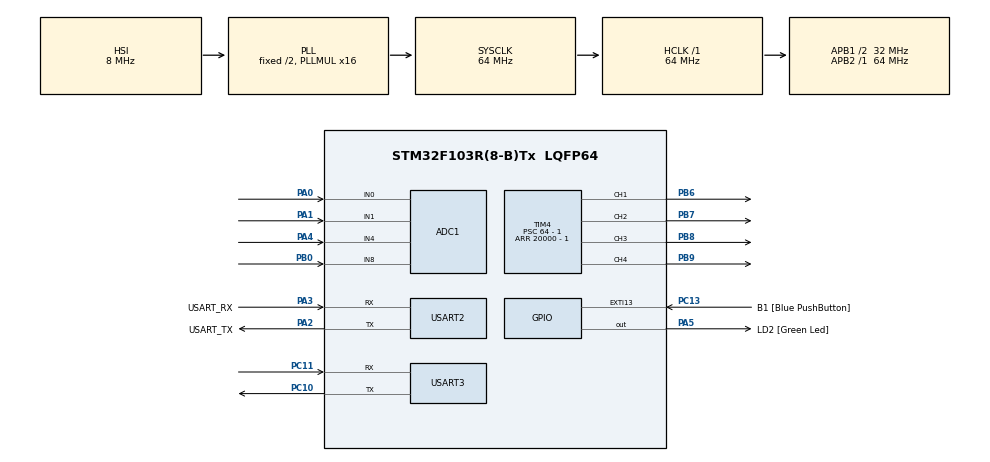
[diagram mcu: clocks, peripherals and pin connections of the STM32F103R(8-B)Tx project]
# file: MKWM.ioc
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ADC1.Channel-0\#ChannelRegularConversion=ADC_CHANNEL_0
ADC1.Channel-1\#ChannelRegularConversion=ADC_CHANNEL_1
ADC1.Channel-2\#ChannelRegularConversion=ADC_CHANNEL_4
ADC1.Channel-3\#ChannelRegularConversion=ADC_CHANNEL_8
ADC1.ContinuousConvMode=ENABLE
ADC1.DataAlign=ADC_DATAALIGN_RIGHT
ADC1.DiscontinuousConvMode=DISABLE
ADC1.EnableAnalogWatchDog=false
ADC1.EnableRegularConversion=ENABLE
ADC1.ExternalTrigConv=ADC_SOFTWARE_START
ADC1.InjNumberOfConversion=0
ADC1.NbrOfConversion=4
ADC1.NbrOfConversionFlag=1
ADC1.Rank-0\#ChannelRegularConversion=1
ADC1.Rank-1\#ChannelRegularConversion=2
ADC1.Rank-2\#ChannelRegularConversion=3
ADC1.Rank-3\#ChannelRegularConversion=4
ADC1.SamplingTime-0\#ChannelRegularConversion=ADC_SAMPLETIME_1CYCLE_5
ADC1.SamplingTime-1\#ChannelRegularConversion=ADC_SAMPLETIME_1CYCLE_5
ADC1.SamplingTime-2\#ChannelRegularConversion=ADC_SAMPLETIME_1CYCLE_5
ADC1.SamplingTime-3\#ChannelRegularConversion=ADC_SAMPLETIME_1CYCLE_5
ADC1.ScanConvMode=ADC_SCAN_ENABLE
ADC1.master=1
Dma.ADC1.4.Direction=DMA_PERIPH_TO_MEMORY
Dma.ADC1.4.Instance=DMA1_Channel1
Dma.ADC1.4.MemDataAlignment=DMA_MDATAALIGN_HALFWORD
Dma.ADC1.4.MemInc=DMA_MINC_ENABLE
Dma.ADC1.4.Mode=DMA_CIRCULAR
Dma.ADC1.4.PeriphDataAlignment=DMA_PDATAALIGN_HALFWORD
Dma.ADC1.4.PeriphInc=DMA_PINC_DISABLE
Dma.ADC1.4.Priority=DMA_PRIORITY_LOW
Dma.Request0=USART2_RX
Dma.Request1=USART2_TX
Dma.Request2=USART3_RX
Dma.Request3=USART3_TX
Dma.Request4=ADC1
Dma.USART2_RX.0.Direction=DMA_PERIPH_TO_MEMORY
Dma.USART2_RX.0.Instance=DMA1_Channel6
Dma.USART2_RX.0.MemDataAlignment=DMA_MDATAALIGN_BYTE
Dma.USART2_RX.0.MemInc=DMA_MINC_ENABLE
Dma.USART2_RX.0.Mode=DMA_NORMAL
Dma.USART2_RX.0.PeriphDataAlignment=DMA_PDATAALIGN_BYTE
Dma.USART2_RX.0.PeriphInc=DMA_PINC_DISABLE
Dma.USART2_RX.0.Priority=DMA_PRIORITY_LOW
Dma.USART2_TX.1.Direction=DMA_MEMORY_TO_PERIPH
Dma.USART2_TX.1.Instance=DMA1_Channel7
Dma.USART2_TX.1.MemDataAlignment=DMA_MDATAALIGN_BYTE
Dma.USART2_TX.1.MemInc=DMA_MINC_ENABLE
Dma.USART2_TX.1.Mode=DMA_NORMAL
Dma.USART2_TX.1.PeriphDataAlignment=DMA_PDATAALIGN_BYTE
Dma.USART2_TX.1.PeriphInc=DMA_PINC_DISABLE
Dma.USART2_TX.1.Priority=DMA_PRIORITY_LOW
Dma.USART3_RX.2.Direction=DMA_PERIPH_TO_MEMORY
Dma.USART3_RX.2.Instance=DMA1_Channel3
Dma.USART3_RX.2.MemDataAlignment=DMA_MDATAALIGN_BYTE
Dma.USART3_RX.2.MemInc=DMA_MINC_ENABLE
Dma.USART3_RX.2.Mode=DMA_NORMAL
Dma.USART3_RX.2.PeriphDataAlignment=DMA_PDATAALIGN_BYTE
Dma.USART3_RX.2.PeriphInc=DMA_PINC_DISABLE
Dma.USART3_RX.2.Priority=DMA_PRIORITY_LOW
Dma.USART3_TX.3.Direction=DMA_MEMORY_TO_PERIPH
Dma.USART3_TX.3.Instance=DMA1_Channel2
Dma.USART3_TX.3.MemDataAlignment=DMA_MDATAALIGN_BYTE
Dma.USART3_TX.3.MemInc=DMA_MINC_ENABLE
Dma.USART3_TX.3.Mode=DMA_NORMAL
Dma.USART3_TX.3.PeriphDataAlignment=DMA_PDATAALIGN_BYTE
Dma.USART3_TX.3.PeriphInc=DMA_PINC_DISABLE
Dma.USART3_TX.3.Priority=DMA_PRIORITY_LOW
Mcu.Family=STM32F1
Mcu.Name=STM32F103R(8-B)Tx
Mcu.Package=LQFP64
NVIC.ADC1_2_IRQn=true\:0\:0\:false\:false\:true\:true
NVIC.DMA1_Channel1_IRQn=true\:0\:0\:false\:false\:true\:false
NVIC.DMA1_Channel2_IRQn=true\:0\:0\:false\:false\:true\:false
NVIC.DMA1_Channel3_IRQn=true\:0\:0\:false\:false\:true\:false
NVIC.DMA1_Channel6_IRQn=true\:0\:0\:false\:false\:true\:false
NVIC.DMA1_Channel7_IRQn=true\:0\:0\:false\:false\:true\:false
NVIC.EXTI15_10_IRQn=true\:0\:0\:false\:false\:true\:true
NVIC.PriorityGroup=NVIC_PRIORITYGROUP_4
NVIC.TIM2_IRQn=true\:0\:0\:false\:false\:true\:true
NVIC.USART2_IRQn=true\:0\:0\:false\:false\:true\:true
NVIC.USART3_IRQn=true\:0\:0\:false\:false\:true\:true
PA0-WKUP.Signal=ADCx_IN0
PA1.Signal=ADCx_IN1
PA13.GPIO_Label=TMS
PA13.Mode=Serial_Wire
PA13.Signal=SYS_JTMS-SWDIO
PA14.GPIO_Label=TCK
PA14.Mode=Serial_Wire
PA14.Signal=SYS_JTCK-SWCLK
PA2.GPIO_Label=USART_TX
PA2.GPIO_Mode=GPIO_MODE_AF_PP
PA2.GPIO_PuPd=GPIO_NOPULL
PA2.GPIO_Speed=GPIO_SPEED_FREQ_LOW
PA2.Mode=Asynchronous
PA2.Signal=USART2_TX
PA3.GPIO_Label=USART_RX
PA3.GPIO_Mode=GPIO_MODE_AF_PP
PA3.GPIO_PuPd=GPIO_NOPULL
PA3.GPIO_Speed=GPIO_SPEED_FREQ_LOW
PA3.Mode=Asynchronous
PA3.Signal=USART2_RX
PA4.Signal=ADCx_IN4
PA5.GPIO_Label=LD2 [Green Led]
PA5.GPIO_ModeDefaultOutputPP=GPIO_MODE_OUTPUT_PP
PA5.GPIO_PuPd=GPIO_NOPULL
PA5.GPIO_Speed=GPIO_SPEED_FREQ_LOW
PA5.Signal=GPIO_Output
PB0.Signal=ADCx_IN8
PB3.GPIO_Label=SWO
PB3.Signal=SYS_JTDO-TRACESWO
PB6.GPIO_Speed=GPIO_SPEED_FREQ_HIGH
PB6.Signal=S_TIM4_CH1
PB7.GPIO_Speed=GPIO_SPEED_FREQ_HIGH
PB7.Signal=S_TIM4_CH2
PB8.GPIO_Speed=GPIO_SPEED_FREQ_HIGH
PB8.Signal=S_TIM4_CH3
PB9.GPIO_Speed=GPIO_SPEED_FREQ_HIGH
PB9.Signal=S_TIM4_CH4
PC10.Mode=Asynchronous
PC10.Signal=USART3_TX
PC11.Mode=Asynchronous
PC11.Signal=USART3_RX
PC13-TAMPER-RTC.GPIO_Label=B1 [Blue PushButton]
PC13-TAMPER-RTC.GPIO_ModeDefaultEXTI=GPIO_MODE_IT_RISING_FALLING
PC13-TAMPER-RTC.GPIO_PuPd=GPIO_PULLDOWN
PC13-TAMPER-RTC.Signal=GPXTI13
PC14-OSC32_IN.Mode=LSE-External-Oscillator
PC14-OSC32_IN.Signal=RCC_OSC32_IN
PC15-OSC32_OUT.Mode=LSE-External-Oscillator
PC15-OSC32_OUT.Signal=RCC_OSC32_OUT
PD0-OSC_IN.Mode=HSE-External-Clock-Source
PD0-OSC_IN.Signal=RCC_OSC_IN
PD1-OSC_OUT.Mode=HSE-External-Clock-Source
PD1-OSC_OUT.Signal=RCC_OSC_OUT
ProjectManager.HeapSize=0x200
ProjectManager.StackSize=0x400
ProjectManager.TargetToolchain=TrueSTUDIO
RCC.ADCPresc=RCC_ADCPCLK2_DIV6
RCC.AHBFreq_Value=64000000
RCC.APB1CLKDivider=RCC_HCLK_DIV2
RCC.APB1Freq_Value=32000000
RCC.APB1TimFreq_Value=64000000
RCC.APB2Freq_Value=64000000
RCC.APB2TimFreq_Value=64000000
RCC.HCLKFreq_Value=64000000
RCC.PLLMUL=RCC_PLL_MUL16
RCC.RTCClockSelection=RCC_RTCCLKSOURCE_LSE
RCC.SYSCLKFreq_VALUE=64000000
RCC.SYSCLKSource=RCC_SYSCLKSOURCE_PLLCLK
RCC.USBFreq_Value=64000000
SH.ADCx_IN0.0=ADC1_IN0,IN0
SH.ADCx_IN1.0=ADC1_IN1,IN1
SH.ADCx_IN4.0=ADC1_IN4,IN4
SH.ADCx_IN8.0=ADC1_IN8,IN8
SH.S_TIM4_CH1.0=TIM4_CH1,PWM Generation1 CH1
SH.S_TIM4_CH2.0=TIM4_CH2,PWM Generation2 CH2
SH.S_TIM4_CH3.0=TIM4_CH3,PWM Generation3 CH3
SH.S_TIM4_CH4.0=TIM4_CH4,PWM Generation4 CH4
TIM2.AutoReloadPreload=TIM_AUTORELOAD_PRELOAD_ENABLE
TIM2.Period=1000
TIM2.Prescaler=64000 - 1
TIM4.AutoReloadPreload=TIM_AUTORELOAD_PRELOAD_ENABLE
TIM4.Channel-PWM\ Generation1\ CH1=TIM_CHANNEL_1
TIM4.Channel-PWM\ Generation2\ CH2=TIM_CHANNEL_2
TIM4.Channel-PWM\ Generation3\ CH3=TIM_CHANNEL_3
TIM4.Channel-PWM\ Generation4\ CH4=TIM_CHANNEL_4
TIM4.OCFastMode_PWM-PWM\ Generation2\ CH2=TIM_OCFAST_ENABLE
TIM4.OCFastMode_PWM-PWM\ Generation3\ CH3=TIM_OCFAST_ENABLE
TIM4.OCFastMode_PWM-PWM\ Generation4\ CH4=TIM_OCFAST_ENABLE
TIM4.OCPolarity_3=TIM_OCPOLARITY_HIGH
TIM4.Period=20000 - 1
TIM4.Prescaler=64 - 1
TIM4.Pulse-PWM\ Generation1\ CH1=1500
TIM4.Pulse-PWM\ Generation2\ CH2=1500
TIM4.Pulse-PWM\ Generation3\ CH3=1500
TIM4.Pulse-PWM\ Generation4\ CH4=1500
USART2.VirtualMode=VM_ASYNC
USART3.VirtualMode=VM_ASYNC
VP_TIM2_VS_ClockSourceINT.Mode=Internal
VP_TIM2_VS_OPM.Mode=OPM_bit
VP_TIM4_VS_ClockSourceINT.Mode=Internal
board=NUCLEO-F103RB

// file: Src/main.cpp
/**
  ******************************************************************************
  * @file           : main.c
  * @brief          : Main program body
  ******************************************************************************
  ** This notice applies to any and all portions of this file
  * that are not between comment pairs USER CODE BEGIN and
  * USER CODE END. Other portions of this file, whether
  * inserted by the user or by software development tools
  * are owned by their respective copyright owners.
  *
  * COPYRIGHT(c) 2019 STMicroelectronics
  *
  * Redistribution and use in source and binary forms, with or without modification,
  * are permitted provided that the following conditions are met:
  *   1. Redistributions of source code must retain the above copyright notice,
  *      this list of conditions and the following disclaimer.
  *   2. Redistributions in binary form must reproduce the above copyright notice,
  *      this list of conditions and the following disclaimer in the documentation
  *      and/or other materials provided with the distribution.
  *   3. Neither the name of STMicroelectronics nor the names of its contributors
  *      may be used to endorse or promote products derived from this software
  *      without specific prior written permission.
  *
  * THIS SOFTWARE IS PROVIDED BY THE COPYRIGHT HOLDERS AND CONTRIBUTORS "AS IS"
  * AND ANY EXPRESS OR IMPLIED WARRANTIES, INCLUDING, BUT NOT LIMITED TO, THE
  * IMPLIED WARRANTIES OF MERCHANTABILITY AND FITNESS FOR A PARTICULAR PURPOSE ARE
  * DISCLAIMED. IN NO EVENT SHALL THE COPYRIGHT HOLDER OR CONTRIBUTORS BE LIABLE
  * FOR ANY DIRECT, INDIRECT, INCIDENTAL, SPECIAL, EXEMPLARY, OR CONSEQUENTIAL
  * DAMAGES (INCLUDING, BUT NOT LIMITED TO, PROCUREMENT OF SUBSTITUTE GOODS OR
  * SERVICES; LOSS OF USE, DATA, OR PROFITS; OR BUSINESS INTERRUPTION) HOWEVER
  * CAUSED AND ON ANY THEORY OF LIABILITY, WHETHER IN CONTRACT, STRICT LIABILITY,
  * OR TORT (INCLUDING NEGLIGENCE OR OTHERWISE) ARISING IN ANY WAY OUT OF THE USE
  * OF THIS SOFTWARE, EVEN IF ADVISED OF THE POSSIBILITY OF SUCH DAMAGE.
  *
  ******************************************************************************
  */
#include "main.h"
#include "stm32f1xx_hal.h"

/* USER CODE BEGIN Includes */

#include "Robot.h"
#include "Servo.h"
#include "string.h"
#include "UARTPCCOM.h"

/* USER CODE END Includes */

ADC_HandleTypeDef hadc1;
DMA_HandleTypeDef hdma_adc1;

TIM_HandleTypeDef htim2;
TIM_HandleTypeDef htim4;

UART_HandleTypeDef huart2;
UART_HandleTypeDef huart3;
DMA_HandleTypeDef hdma_usart2_rx;
DMA_HandleTypeDef hdma_usart2_tx;
DMA_HandleTypeDef hdma_usart3_rx;
DMA_HandleTypeDef hdma_usart3_tx;

/* USER CODE BEGIN PV */
/* Private variables ---------------------------------------------------------*/

Robot *robot = NULL;

UART_PC_COM *pc = NULL;

/* USER CODE END PV */

void SystemClock_Config(void);
static void MX_GPIO_Init(void);
static void MX_DMA_Init(void);
static void MX_USART2_UART_Init(void);
static void MX_TIM4_Init(void);
static void MX_USART3_UART_Init(void);
static void MX_TIM2_Init(void);
static void MX_ADC1_Init(void);

//void HAL_TIM_MspPostInit(TIM_HandleTypeDef *htim);

/* USER CODE BEGIN PFP */
/* Private function prototypes -----------------------------------------------*/
extern "C" void HAL_TIM_MspPostInit(TIM_HandleTypeDef *htim);

void HAL_UART_RxCpltCallback(UART_HandleTypeDef *huart) {
	if(pc != NULL) pc->recieveNextData();
}

void HAL_UART_TxCpltCallback(UART_HandleTypeDef *huart) {
	if(pc != NULL) pc->sendData();
}

void HAL_GPIO_EXTI_Callback(uint16_t GPIO_Pin){
	if(robot != NULL) robot->buttonIT(HAL_GPIO_ReadPin(B1_GPIO_Port, B1_Pin));
}

void HAL_TIM_PeriodElapsedCallback(TIM_HandleTypeDef *htim){
	if(robot != NULL) robot->timerIT();
}

void HAL_ADC_ConvCpltCallback(ADC_HandleTypeDef* hadc){
	if(robot != NULL) robot->updatedDataADC();
}

/* USER CODE END PFP */

int main(void)
{

  /* MCU Configuration----------------------------------------------------------*/

  /* Reset of all peripherals, Initializes the Flash interface and the Systick. */
  HAL_Init();

  /* Configure the system clock */
  SystemClock_Config();

  /* Initialize all configured peripherals */
  MX_GPIO_Init();
  MX_DMA_Init();
  MX_USART2_UART_Init();
  MX_TIM4_Init();
  MX_USART3_UART_Init();
  MX_TIM2_Init();
  MX_ADC1_Init();
  /* USER CODE BEGIN 2 */
	HAL_TIM_PWM_Start(&htim4, TIM_CHANNEL_1);
	HAL_TIM_PWM_Start(&htim4, TIM_CHANNEL_2);
	HAL_TIM_PWM_Start(&htim4, TIM_CHANNEL_3);
	HAL_TIM_PWM_Start(&htim4, TIM_CHANNEL_4);

  /* USER CODE END 2 */

  /* Infinite loop */
  /* USER CODE BEGIN WHILE */

	robot = new Robot(&TIM4->CCR1, &TIM4->CCR2, &TIM4->CCR3, &TIM4->CCR4, &htim2);
	pc = new UART_PC_COM(&huart3, robot);

	HAL_ADC_Start_DMA(&hadc1, (uint32_t *)robot->getRawADCBufferHandler()->angle, AMOUNT_OF_SERVO);

	while (1){
		//robot->updatedData(fromADC);
		//		 if (HAL_ADC_PollForConversion(&hadc1, 10) == HAL_OK) { // Oczekiwanie na zakonczenie konwersji
		//			 fromADC.angle[2] = HAL_ADC_GetValue(&hadc1) / 23;
		//		 HAL_ADC_Start(&hadc1);// Rozpoczecie nowej konwersji
		//		 }

  /* USER CODE END WHILE */

	}

}

void SystemClock_Config(void)
{

  RCC_OscInitTypeDef RCC_OscInitStruct;
  RCC_ClkInitTypeDef RCC_ClkInitStruct;
  RCC_PeriphCLKInitTypeDef PeriphClkInit;

    /**Initializes the CPU, AHB and APB busses clocks
    */
  RCC_OscInitStruct.OscillatorType = RCC_OSCILLATORTYPE_HSI;
  RCC_OscInitStruct.HSIState = RCC_HSI_ON;
  RCC_OscInitStruct.HSICalibrationValue = 16;
  RCC_OscInitStruct.PLL.PLLState = RCC_PLL_ON;
  RCC_OscInitStruct.PLL.PLLSource = RCC_PLLSOURCE_HSI_DIV2;
  RCC_OscInitStruct.PLL.PLLMUL = RCC_PLL_MUL16;
  if (HAL_RCC_OscConfig(&RCC_OscInitStruct) != HAL_OK)
  {
    _Error_Handler(__FILE__, __LINE__);
  }

    /**Initializes the CPU, AHB and APB busses clocks
    */
  RCC_ClkInitStruct.ClockType = RCC_CLOCKTYPE_HCLK|RCC_CLOCKTYPE_SYSCLK
                              |RCC_CLOCKTYPE_PCLK1|RCC_CLOCKTYPE_PCLK2;
  RCC_ClkInitStruct.SYSCLKSource = RCC_SYSCLKSOURCE_PLLCLK;
  RCC_ClkInitStruct.AHBCLKDivider = RCC_SYSCLK_DIV1;
  RCC_ClkInitStruct.APB1CLKDivider = RCC_HCLK_DIV2;
  RCC_ClkInitStruct.APB2CLKDivider = RCC_HCLK_DIV1;

  if (HAL_RCC_ClockConfig(&RCC_ClkInitStruct, FLASH_LATENCY_2) != HAL_OK)
  {
    _Error_Handler(__FILE__, __LINE__);
  }

  PeriphClkInit.PeriphClockSelection = RCC_PERIPHCLK_ADC;
  PeriphClkInit.AdcClockSelection = RCC_ADCPCLK2_DIV6;
  if (HAL_RCCEx_PeriphCLKConfig(&PeriphClkInit) != HAL_OK)
  {
    _Error_Handler(__FILE__, __LINE__);
  }

    /**Configure the Systick interrupt time
    */
  HAL_SYSTICK_Config(HAL_RCC_GetHCLKFreq()/1000);

    /**Configure the Systick
    */
  HAL_SYSTICK_CLKSourceConfig(SYSTICK_CLKSOURCE_HCLK);

  /* SysTick_IRQn interrupt configuration */
  HAL_NVIC_SetPriority(SysTick_IRQn, 0, 0);
}

/* ADC1 init function */
static void MX_ADC1_Init(void)
{

  ADC_ChannelConfTypeDef sConfig;

    /**Common config
    */
  hadc1.Instance = ADC1;
  hadc1.Init.ScanConvMode = ADC_SCAN_ENABLE;
  hadc1.Init.ContinuousConvMode = ENABLE;
  hadc1.Init.DiscontinuousConvMode = DISABLE;
  hadc1.Init.ExternalTrigConv = ADC_SOFTWARE_START;
  hadc1.Init.DataAlign = ADC_DATAALIGN_RIGHT;
  hadc1.Init.NbrOfConversion = 4;
  if (HAL_ADC_Init(&hadc1) != HAL_OK)
  {
    _Error_Handler(__FILE__, __LINE__);
  }

    /**Configure Regular Channel
    */
  sConfig.Channel = ADC_CHANNEL_0;
  sConfig.Rank = ADC_REGULAR_RANK_1;
  sConfig.SamplingTime = ADC_SAMPLETIME_1CYCLE_5;
  if (HAL_ADC_ConfigChannel(&hadc1, &sConfig) != HAL_OK)
  {
    _Error_Handler(__FILE__, __LINE__);
  }

    /**Configure Regular Channel
    */
  sConfig.Channel = ADC_CHANNEL_1;
  sConfig.Rank = ADC_REGULAR_RANK_2;
  if (HAL_ADC_ConfigChannel(&hadc1, &sConfig) != HAL_OK)
  {
    _Error_Handler(__FILE__, __LINE__);
  }

    /**Configure Regular Channel
    */
  sConfig.Channel = ADC_CHANNEL_4;
  sConfig.Rank = ADC_REGULAR_RANK_3;
  if (HAL_ADC_ConfigChannel(&hadc1, &sConfig) != HAL_OK)
  {
    _Error_Handler(__FILE__, __LINE__);
  }

    /**Configure Regular Channel
    */
  sConfig.Channel = ADC_CHANNEL_8;
  sConfig.Rank = ADC_REGULAR_RANK_4;
  if (HAL_ADC_ConfigChannel(&hadc1, &sConfig) != HAL_OK)
  {
    _Error_Handler(__FILE__, __LINE__);
  }

}

/* TIM2 init function */
static void MX_TIM2_Init(void)
{

  TIM_ClockConfigTypeDef sClockSourceConfig;
  TIM_MasterConfigTypeDef sMasterConfig;

  htim2.Instance = TIM2;
  htim2.Init.Prescaler = 64000 - 1;
  htim2.Init.CounterMode = TIM_COUNTERMODE_UP;
  htim2.Init.Period = 1000;
  htim2.Init.ClockDivision = TIM_CLOCKDIVISION_DIV1;
  htim2.Init.AutoReloadPreload = TIM_AUTORELOAD_PRELOAD_ENABLE;
  if (HAL_TIM_Base_Init(&htim2) != HAL_OK)
  {
    _Error_Handler(__FILE__, __LINE__);
  }

  sClockSourceConfig.ClockSource = TIM_CLOCKSOURCE_INTERNAL;
  if (HAL_TIM_ConfigClockSource(&htim2, &sClockSourceConfig) != HAL_OK)
  {
    _Error_Handler(__FILE__, __LINE__);
  }

  if (HAL_TIM_OnePulse_Init(&htim2, TIM_OPMODE_SINGLE) != HAL_OK)
  {
    _Error_Handler(__FILE__, __LINE__);
  }

  sMasterConfig.MasterOutputTrigger = TIM_TRGO_RESET;
  sMasterConfig.MasterSlaveMode = TIM_MASTERSLAVEMODE_DISABLE;
  if (HAL_TIMEx_MasterConfigSynchronization(&htim2, &sMasterConfig) != HAL_OK)
  {
    _Error_Handler(__FILE__, __LINE__);
  }

}

/* TIM4 init function */
static void MX_TIM4_Init(void)
{

  TIM_ClockConfigTypeDef sClockSourceConfig;
  TIM_MasterConfigTypeDef sMasterConfig;
  TIM_OC_InitTypeDef sConfigOC;

  htim4.Instance = TIM4;
  htim4.Init.Prescaler = 64 - 1;
  htim4.Init.CounterMode = TIM_COUNTERMODE_UP;
  htim4.Init.Period = 20000 - 1;
  htim4.Init.ClockDivision = TIM_CLOCKDIVISION_DIV1;
  htim4.Init.AutoReloadPreload = TIM_AUTORELOAD_PRELOAD_ENABLE;
  if (HAL_TIM_Base_Init(&htim4) != HAL_OK)
  {
    _Error_Handler(__FILE__, __LINE__);
  }

  sClockSourceConfig.ClockSource = TIM_CLOCKSOURCE_INTERNAL;
  if (HAL_TIM_ConfigClockSource(&htim4, &sClockSourceConfig) != HAL_OK)
  {
    _Error_Handler(__FILE__, __LINE__);
  }

  if (HAL_TIM_PWM_Init(&htim4) != HAL_OK)
  {
    _Error_Handler(__FILE__, __LINE__);
  }

  sMasterConfig.MasterOutputTrigger = TIM_TRGO_RESET;
  sMasterConfig.MasterSlaveMode = TIM_MASTERSLAVEMODE_DISABLE;
  if (HAL_TIMEx_MasterConfigSynchronization(&htim4, &sMasterConfig) != HAL_OK)
  {
    _Error_Handler(__FILE__, __LINE__);
  }

  sConfigOC.OCMode = TIM_OCMODE_PWM1;
  sConfigOC.Pulse = 1500;
  sConfigOC.OCPolarity = TIM_OCPOLARITY_HIGH;
  sConfigOC.OCFastMode = TIM_OCFAST_DISABLE;
  if (HAL_TIM_PWM_ConfigChannel(&htim4, &sConfigOC, TIM_CHANNEL_1) != HAL_OK)
  {
    _Error_Handler(__FILE__, __LINE__);
  }

  sConfigOC.OCFastMode = TIM_OCFAST_ENABLE;
  if (HAL_TIM_PWM_ConfigChannel(&htim4, &sConfigOC, TIM_CHANNEL_2) != HAL_OK)
  {
    _Error_Handler(__FILE__, __LINE__);
  }

  if (HAL_TIM_PWM_ConfigChannel(&htim4, &sConfigOC, TIM_CHANNEL_3) != HAL_OK)
  {
    _Error_Handler(__FILE__, __LINE__);
  }

  if (HAL_TIM_PWM_ConfigChannel(&htim4, &sConfigOC, TIM_CHANNEL_4) != HAL_OK)
  {
    _Error_Handler(__FILE__, __LINE__);
  }

  HAL_TIM_MspPostInit(&htim4);

}

/* USART2 init function */
static void MX_USART2_UART_Init(void)
{

  huart2.Instance = USART2;
  huart2.Init.BaudRate = 115200;
  huart2.Init.WordLength = UART_WORDLENGTH_8B;
  huart2.Init.StopBits = UART_STOPBITS_1;
  huart2.Init.Parity = UART_PARITY_NONE;
  huart2.Init.Mode = UART_MODE_TX_RX;
  huart2.Init.HwFlowCtl = UART_HWCONTROL_NONE;
  huart2.Init.OverSampling = UART_OVERSAMPLING_16;
  if (HAL_UART_Init(&huart2) != HAL_OK)
  {
    _Error_Handler(__FILE__, __LINE__);
  }

}

/* USART3 init function */
static void MX_USART3_UART_Init(void)
{

  huart3.Instance = USART3;
  huart3.Init.BaudRate = 115200;
  huart3.Init.WordLength = UART_WORDLENGTH_8B;
  huart3.Init.StopBits = UART_STOPBITS_1;
  huart3.Init.Parity = UART_PARITY_NONE;
  huart3.Init.Mode = UART_MODE_TX_RX;
  huart3.Init.HwFlowCtl = UART_HWCONTROL_NONE;
  huart3.Init.OverSampling = UART_OVERSAMPLING_16;
  if (HAL_UART_Init(&huart3) != HAL_OK)
  {
    _Error_Handler(__FILE__, __LINE__);
  }

}

static void MX_DMA_Init(void)
{
  /* DMA controller clock enable */
  __HAL_RCC_DMA1_CLK_ENABLE();

  /* DMA interrupt init */
  /* DMA1_Channel1_IRQn interrupt configuration */
  HAL_NVIC_SetPriority(DMA1_Channel1_IRQn, 0, 0);
  HAL_NVIC_EnableIRQ(DMA1_Channel1_IRQn);
  /* DMA1_Channel2_IRQn interrupt configuration */
  HAL_NVIC_SetPriority(DMA1_Channel2_IRQn, 0, 0);
  HAL_NVIC_EnableIRQ(DMA1_Channel2_IRQn);
  /* DMA1_Channel3_IRQn interrupt configuration */
  HAL_NVIC_SetPriority(DMA1_Channel3_IRQn, 0, 0);
  HAL_NVIC_EnableIRQ(DMA1_Channel3_IRQn);
  /* DMA1_Channel6_IRQn interrupt configuration */
  HAL_NVIC_SetPriority(DMA1_Channel6_IRQn, 0, 0);
  HAL_NVIC_EnableIRQ(DMA1_Channel6_IRQn);
  /* DMA1_Channel7_IRQn interrupt configuration */
  HAL_NVIC_SetPriority(DMA1_Channel7_IRQn, 0, 0);
  HAL_NVIC_EnableIRQ(DMA1_Channel7_IRQn);

}

/** Configure pins as
        * Analog
        * Input
        * Output
        * EVENT_OUT
        * EXTI
*/
static void MX_GPIO_Init(void)
{

  GPIO_InitTypeDef GPIO_InitStruct;

  /* GPIO Ports Clock Enable */
  __HAL_RCC_GPIOC_CLK_ENABLE();
  __HAL_RCC_GPIOD_CLK_ENABLE();
  __HAL_RCC_GPIOA_CLK_ENABLE();
  __HAL_RCC_GPIOB_CLK_ENABLE();

  /*Configure GPIO pin Output Level */
  HAL_GPIO_WritePin(LD2_GPIO_Port, LD2_Pin, GPIO_PIN_RESET);

  /*Configure GPIO pin : B1_Pin */
  GPIO_InitStruct.Pin = B1_Pin;
  GPIO_InitStruct.Mode = GPIO_MODE_IT_RISING_FALLING;
  GPIO_InitStruct.Pull = GPIO_PULLDOWN;
  HAL_GPIO_Init(B1_GPIO_Port, &GPIO_InitStruct);

  /*Configure GPIO pin : LD2_Pin */
  GPIO_InitStruct.Pin = LD2_Pin;
  GPIO_InitStruct.Mode = GPIO_MODE_OUTPUT_PP;
  GPIO_InitStruct.Pull = GPIO_NOPULL;
  GPIO_InitStruct.Speed = GPIO_SPEED_FREQ_LOW;
  HAL_GPIO_Init(LD2_GPIO_Port, &GPIO_InitStruct);

  /* EXTI interrupt init*/
  HAL_NVIC_SetPriority(EXTI15_10_IRQn, 0, 0);
  HAL_NVIC_EnableIRQ(EXTI15_10_IRQn);

}

void _Error_Handler(char *file, int line)
{
	while(1)
	{
	}
}

/************************ (C) COPYRIGHT STMicroelectronics *****END OF FILE****/
